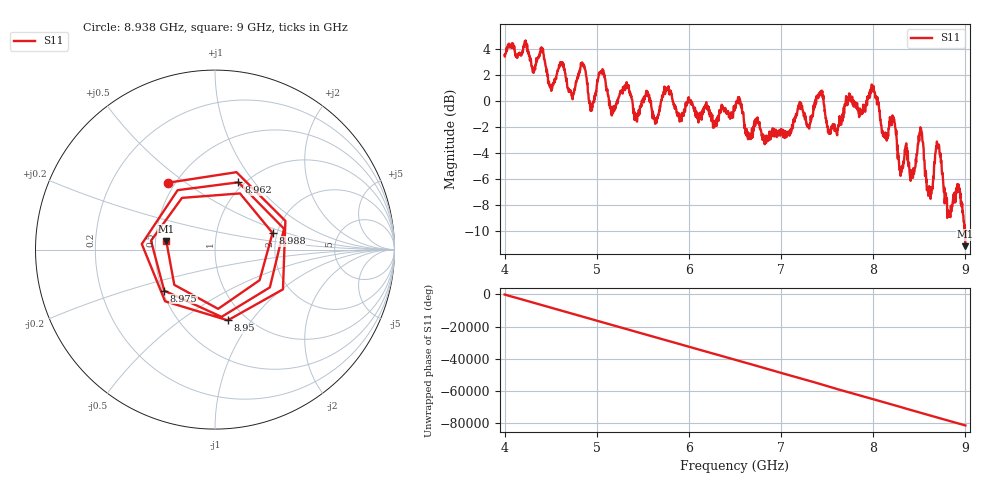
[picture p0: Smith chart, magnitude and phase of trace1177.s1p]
! Created with skrf 1.8.0 (http://scikit-rf.org).
# Hz S RI R 50.0
!freq ReS11 ImS11
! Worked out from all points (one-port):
!   1601 points, 4 GHz to 9 GHz, reference 50 ohm
!   lowest |S11| = -11.2 dB at 9 GHz (marker M1), VSWR 1.76, Z = 28.6 + j2.9 ohm
!   |S11| at or under -10 dB: 8.989592 GHz to 8.992556 GHz (2.964 MHz wide, 0.033 % of centre); 8.995377 GHz to end of sweep
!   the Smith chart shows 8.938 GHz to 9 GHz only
!   S11 on the Smith chart (normalised r, x): 8.938 GHz: 0.46, +0.43; 8.95 GHz: 0.83, -0.77; 8.962 GHz: 0.94, +0.84; 8.975 GHz: 0.51, -0.27; 8.988 GHz: 1.89, +0.39; 9 GHz: 0.57, +0.06
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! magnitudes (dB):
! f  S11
! 4 GHz  3.5
! 4.503 GHz  0.9
! 4.625 GHz  2.7
! 4.728 GHz  0.4
! 4.853 GHz  2.8
! 4.938 GHz  -0.4
! 5.047 GHz  2.2
! 5.169 GHz  -0.8
! 5.25 GHz  0.6
! 5.875 GHz  -1.1
! 6.5 GHz  -0.4
! 6.656 GHz  -2.6
! 7.125 GHz  -2.1
! 7.422 GHz  0.5
! 7.606 GHz  -2.6
! 7.75 GHz  0.2
! 7.994 GHz  1.0
! 8.375 GHz  -3.9
! 8.516 GHz  -2.2
! 8.606 GHz  -6.6
! 8.697 GHz  -3.4
! 8.816 GHz  -8.9
! 8.938 GHz  -6.8
! 8.95 GHz  -7.9
! 8.962 GHz  -8.0
! 8.975 GHz  -8.8
! 8.988 GHz  -9.5
! 9 GHz  -11.2
